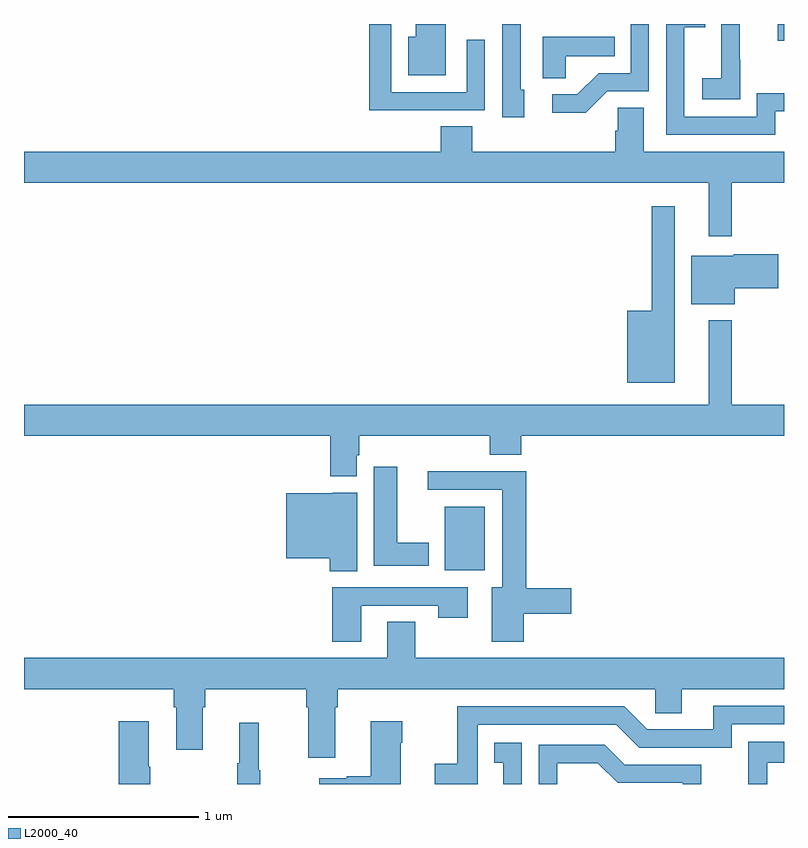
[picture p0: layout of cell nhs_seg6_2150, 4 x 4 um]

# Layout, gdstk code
import gdstk
lib = gdstk.Library(unit=1e-6, precision=1e-09)
def R(c, l, rs):  # rectangles x0, y0, x1, y1
    for r in rs: c.add(gdstk.rectangle(r[:2], r[2:], *l))
def P(c, l, *ps):  # polygons
    for p in ps: c.add(gdstk.Polygon(p, *l))
L2000_40 = (2000, 40)

nhs_seg6_2150 = lib.new_cell('nhs_seg6_2150')
R(nhs_seg6_2150, L2000_40, [(241.214,950.624,241.426,950.959), (242.967,953.411,243,953.5)])
P(nhs_seg6_2150, L2000_40, [(241.633,953.154),(241.614,953.154),(241.614,953.5),(241.518,953.5),(241.518,953.01),(241.633,953.01)],
  [(241.219,953.5),(241.061,953.5),(241.061,953.434),(241.022,953.434),(241.022,953.231),(241.219,953.231)],
  [(242.769,953.311),(242.768,953.311),(242.768,953.5),(242.67,953.5),(242.67,953.444),(242.669,953.444),(242.669,953.215),(242.571,953.215),(242.571,953.105),(242.769,953.105)],
  [(242.005,953.08),(242.07,953.145),(242.289,953.145),(242.289,953.5),(242.193,953.5),(242.193,953.241),(242.024,953.241),(241.913,953.13),(241.779,953.13),(241.779,953.033),(241.957,953.033)],
  [(242.953,953.04),(243,953.04),(243,953.136),(242.856,953.136),(242.856,953.013),(242.475,953.013),(242.475,953.482),(242.585,953.482),(242.585,953.5),(242.379,953.5),(242.379,952.917),(242.953,952.917)],
  [(241.109,953.046),(241.425,953.046),(241.425,953.416),(241.329,953.416),(241.329,953.142),(240.933,953.142),(240.933,953.5),(240.817,953.5),(240.817,953.045),(241.109,953.045)],
  [(241.851,953.33),(242.108,953.33),(242.108,953.434),(241.73,953.434),(241.73,953.215),(241.851,953.215)],
  [(242.725,952.664),(243,952.664),(243,952.828),(242.263,952.828),(242.263,953.06),(242.124,953.06),(242.124,952.937),(242.111,952.937),(242.111,952.828),(241.358,952.828),(241.358,952.961),(241.193,952.961),(241.193,952.828),(239,952.828),(239,952.664),(242.603,952.664),(242.603,952.383),(242.725,952.383)],
  [(242.425,952.54),(242.304,952.54),(242.304,951.991),(242.174,951.991),(242.174,951.611),(242.425,951.611)],
  [(242.74,952.109),(242.971,952.109),(242.971,952.287),(242.736,952.287),(242.736,952.279),(242.513,952.279),(242.513,952.025),(242.74,952.025)],
  [(239,951.332),(240.611,951.332),(240.611,951.119),(240.751,951.119),(240.751,951.231),(240.764,951.231),(240.764,951.332),(241.451,951.332),(241.451,951.233),(241.616,951.233),(241.616,951.332),(243,951.332),(243,951.496),(242.725,951.496),(242.725,951.94),(242.603,951.94),(242.603,951.496),(239,951.496)],
  [(241.129,950.77),(240.964,950.77),(240.964,951.169),(240.842,951.169),(240.842,950.648),(241.129,950.648)],
  [(241.63,950.396),(241.879,950.396),(241.879,950.531),(241.643,950.531),(241.643,951.146),(241.125,951.146),(241.125,951.048),(241.517,951.048),(241.517,950.536),(241.463,950.536),(241.463,950.25),(241.63,950.25)],
  [(240.754,951.034),(240.624,951.034),(240.624,951.031),(240.38,951.031),(240.38,950.687),(240.608,950.687),(240.608,950.62),(240.754,950.62)],
  [(240.775,950.439),(241.18,950.439),(241.18,950.376),(241.336,950.376),(241.336,950.535),(240.623,950.535),(240.623,950.25),(240.775,950.25)],
  [(240.637,949.904),(240.65,949.904),(240.65,950),(242.322,950),(242.322,949.873),(242.461,949.873),(242.461,950),(243,950),(243,950.164),(241.059,950.164),(241.059,950.354),(240.911,950.354),(240.911,950.164),(239,950.164),(239,950),(239.789,950),(239.789,949.904),(239.801,949.904),(239.801,949.68),(239.941,949.68),(239.941,949.904),(239.954,949.904),(239.954,950),(240.485,950),(240.485,949.904),(240.497,949.904),(240.497,949.638),(240.637,949.638)],
  [(241.389,949.812),(242.118,949.812),(242.238,949.692),(242.724,949.692),(242.724,949.815),(243,949.815),(243,949.911),(242.627,949.911),(242.627,949.788),(242.28,949.788),(242.16,949.908),(241.281,949.908),(241.281,949.606),(241.163,949.606),(241.163,949.5),(241.389,949.5)],
  [(239.664,949.592),(239.656,949.592),(239.656,949.831),(239.498,949.831),(239.498,949.5),(239.664,949.5)],
  [(240.982,949.718),(240.99,949.718),(240.99,949.831),(240.824,949.831),(240.824,949.541),(240.698,949.541),(240.698,949.531),(240.555,949.531),(240.555,949.5),(240.982,949.5)],
  [(240.244,949.572),(240.236,949.572),(240.236,949.822),(240.134,949.822),(240.134,949.609),(240.123,949.609),(240.123,949.5),(240.244,949.5)],
  [(242.912,949.613),(243,949.613),(243,949.723),(242.812,949.723),(242.812,949.517),(242.813,949.517),(242.813,949.5),(242.912,949.5)],
  [(241.62,949.717),(241.474,949.717),(241.474,949.611),(241.523,949.611),(241.523,949.5),(241.62,949.5)],
  [(241.806,949.61),(242.02,949.61),(242.124,949.506),(242.466,949.506),(242.466,949.5),(242.565,949.5),(242.565,949.602),(242.161,949.602),(242.056,949.707),(241.71,949.707),(241.71,949.5),(241.806,949.5)])

lib.write_gds('nhs_seg6_2150.gds')
